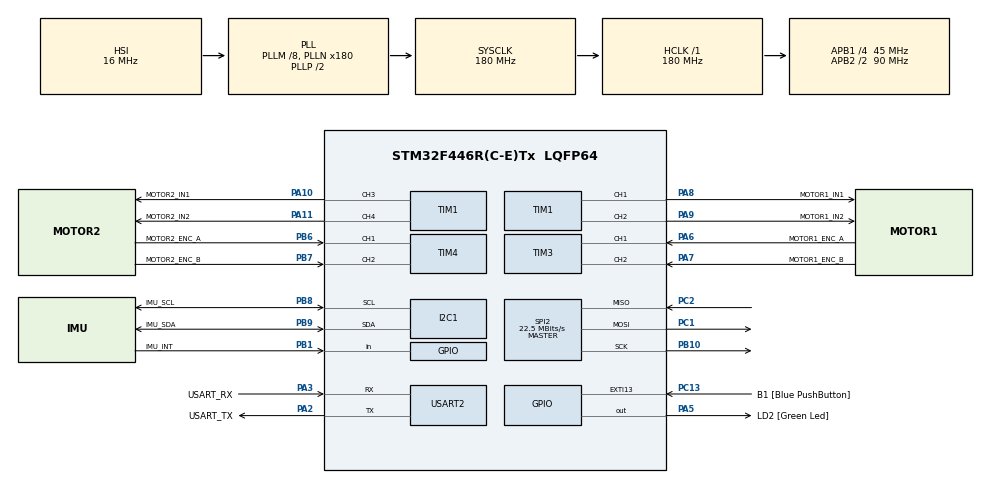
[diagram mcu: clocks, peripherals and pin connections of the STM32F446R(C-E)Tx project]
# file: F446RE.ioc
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Mcu.Family=STM32F4
Mcu.Name=STM32F446R(C-E)Tx
Mcu.Package=LQFP64
NVIC.PriorityGroup=NVIC_PRIORITYGROUP_0
NVIC.TIM2_IRQn=true\:0\:0\:false\:false\:true\:true\:true\:true
PA10.GPIO_Label=MOTOR2_IN1
PA10.Signal=S_TIM1_CH3
PA11.GPIO_Label=MOTOR2_IN2
PA11.Signal=S_TIM1_CH4
PA13.GPIO_Label=TMS
PA13.Mode=Serial_Wire
PA13.Signal=SYS_JTMS-SWDIO
PA14.GPIO_Label=TCK
PA14.Mode=Serial_Wire
PA14.Signal=SYS_JTCK-SWCLK
PA2.GPIO_Label=USART_TX
PA2.Mode=Asynchronous
PA2.Signal=USART2_TX
PA3.GPIO_Label=USART_RX
PA3.Mode=Asynchronous
PA3.Signal=USART2_RX
PA5.GPIO_Label=LD2 [Green Led]
PA5.Signal=GPIO_Output
PA6.GPIO_Label=MOTOR1_ENC_A
PA6.Signal=S_TIM3_CH1
PA7.GPIO_Label=MOTOR1_ENC_B
PA7.Signal=S_TIM3_CH2
PA8.GPIO_Label=MOTOR1_IN1
PA8.Signal=S_TIM1_CH1
PA9.GPIO_Label=MOTOR1_IN2
PA9.Signal=S_TIM1_CH2
PB1.GPIO_Label=IMU_INT
PB1.Signal=GPIO_Input
PB10.Mode=Full_Duplex_Master
PB10.Signal=SPI2_SCK
PB3.GPIO_Label=SWO
PB3.Signal=SYS_JTDO-SWO
PB6.GPIO_Label=MOTOR2_ENC_A
PB6.Signal=S_TIM4_CH1
PB7.GPIO_Label=MOTOR2_ENC_B
PB7.Signal=S_TIM4_CH2
PB8.GPIO_Label=IMU_SCL
PB8.Mode=I2C
PB8.Signal=I2C1_SCL
PB9.GPIO_Label=IMU_SDA
PB9.Mode=I2C
PB9.Signal=I2C1_SDA
PC1.Mode=Full_Duplex_Master
PC1.Signal=SPI2_MOSI
PC13.GPIO_Label=B1 [Blue PushButton]
PC13.GPIO_ModeDefaultEXTI=GPIO_MODE_IT_FALLING
PC13.Signal=GPXTI13
PC14-OSC32_IN.Signal=RCC_OSC32_IN
PC15-OSC32_OUT.Signal=RCC_OSC32_OUT
PC2.Mode=Full_Duplex_Master
PC2.Signal=SPI2_MISO
PH0-OSC_IN.Signal=RCC_OSC_IN
PH1-OSC_OUT.Signal=RCC_OSC_OUT
ProjectManager.HeapSize=0x200
ProjectManager.StackSize=0x400
ProjectManager.TargetToolchain=CMake
RCC.AHBFreq_Value=180000000
RCC.APB1CLKDivider=RCC_HCLK_DIV4
RCC.APB1Freq_Value=45000000
RCC.APB1TimFreq_Value=90000000
RCC.APB2CLKDivider=RCC_HCLK_DIV2
RCC.APB2Freq_Value=90000000
RCC.APB2TimFreq_Value=180000000
RCC.CortexFreq_Value=180000000
RCC.FLatency-AdvancedSettings=FLASH_LATENCY_5
RCC.HCLKFreq_Value=180000000
RCC.HSE_VALUE=8000000
RCC.HSI_VALUE=16000000
RCC.LSE_VALUE=32768
RCC.PLLM=8
RCC.PLLN=180
RCC.SYSCLKFreq_VALUE=180000000
RCC.SYSCLKSource=RCC_SYSCLKSOURCE_PLLCLK
RCC.USBFreq_Value=180000000
RCC.VCOOutputFreq_Value=360000000
SH.S_TIM1_CH1.0=TIM1_CH1,PWM Generation1 CH1
SH.S_TIM1_CH2.0=TIM1_CH2,PWM Generation2 CH2
SH.S_TIM1_CH3.0=TIM1_CH3,PWM Generation3 CH3
SH.S_TIM1_CH4.0=TIM1_CH4,Output Compare4 CH4
SH.S_TIM3_CH1.0=TIM3_CH1,Encoder_Interface
SH.S_TIM3_CH2.0=TIM3_CH2,Encoder_Interface
SH.S_TIM4_CH1.0=TIM4_CH1,Encoder_Interface
SH.S_TIM4_CH2.0=TIM4_CH2,Encoder_Interface
SPI2.BaudRatePrescaler=SPI_BAUDRATEPRESCALER_2
SPI2.CalculateBaudRate=22.5 MBits/s
SPI2.Direction=SPI_DIRECTION_2LINES
SPI2.Mode=SPI_MODE_MASTER
SPI2.VirtualType=VM_MASTER
TIM1.Channel-Output\ Compare4\ CH4=TIM_CHANNEL_4
TIM1.Channel-PWM\ Generation1\ CH1=TIM_CHANNEL_1
TIM1.Channel-PWM\ Generation2\ CH2=TIM_CHANNEL_2
TIM1.Channel-PWM\ Generation3\ CH3=TIM_CHANNEL_3
TIM2.ClockDivision=TIM_CLOCKDIVISION_DIV1
TIM2.Period=19999
TIM2.Prescaler=8
USART2.VirtualMode=VM_ASYNC
VP_TIM2_VS_ClockSourceINT.Mode=Internal
board=NUCLEO-F446RE

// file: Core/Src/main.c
/* USER CODE BEGIN Header */
/**
 ******************************************************************************
 * @file           : main.c
 * @brief          : Main program body
 ******************************************************************************
 * @attention
 *
 * Copyright (c) 2026 STMicroelectronics.
 * All rights reserved.
 *
 * This software is licensed under terms that can be found in the LICENSE file
 * in the root directory of this software component.
 * If no LICENSE file comes with this software, it is provided AS-IS.
 *
 ******************************************************************************
 */
/* USER CODE END Header */
#include "main.h"
#include "i2c.h"
#include "spi.h"
#include "tim.h"
#include "usart.h"
#include "gpio.h"

/* USER CODE BEGIN Includes */
#include "stdio.h"
#include "string.h"
#include "app.hpp"
/* USER CODE END Includes */

/* USER CODE BEGIN PV */
extern TIM_HandleTypeDef htim2;
extern UART_HandleTypeDef huart2;
extern float angle;
extern float output;
char buffer[256];
uint32_t lastTelemetryTick = 0;
/* USER CODE END PV */

void SystemClock_Config(void);

int main(void)
{

	/* MCU Configuration--------------------------------------------------------*/

	/* Reset of all peripherals, Initializes the Flash interface and the Systick. */
	HAL_Init();

	/* Configure the system clock */
	SystemClock_Config();

	/* Initialize all configured peripherals */
	MX_GPIO_Init();
	MX_I2C1_Init();
	MX_TIM1_Init();
	MX_TIM3_Init();
	MX_TIM4_Init();
	MX_SPI2_Init();
	MX_TIM2_Init();
	MX_USART2_UART_Init();
	/* USER CODE BEGIN 2 */
	appInit();
	HAL_TIM_Base_Start_IT(&htim2);
	/* USER CODE END 2 */

	/* Infinite loop */
	/* USER CODE BEGIN WHILE */
	while (1)
	{
		if (HAL_GetTick() - lastTelemetryTick >= 20) {
			lastTelemetryTick += 20;
			snprintf(buffer, sizeof(buffer), "%.2f,%.2f\r\n", angle, output);
			HAL_UART_Transmit(&huart2, buffer, strlen(buffer), 1000);
		}
		/* USER CODE END WHILE */

	}
}

void SystemClock_Config(void)
{
	RCC_OscInitTypeDef RCC_OscInitStruct = {0};
	RCC_ClkInitTypeDef RCC_ClkInitStruct = {0};

	/** Configure the main internal regulator output voltage
	 */
	__HAL_RCC_PWR_CLK_ENABLE();
	__HAL_PWR_VOLTAGESCALING_CONFIG(PWR_REGULATOR_VOLTAGE_SCALE1);

	/** Initializes the RCC Oscillators according to the specified parameters
	 * in the RCC_OscInitTypeDef structure.
	 */
	RCC_OscInitStruct.OscillatorType = RCC_OSCILLATORTYPE_HSI;
	RCC_OscInitStruct.HSIState = RCC_HSI_ON;
	RCC_OscInitStruct.HSICalibrationValue = RCC_HSICALIBRATION_DEFAULT;
	RCC_OscInitStruct.PLL.PLLState = RCC_PLL_ON;
	RCC_OscInitStruct.PLL.PLLSource = RCC_PLLSOURCE_HSI;
	RCC_OscInitStruct.PLL.PLLM = 8;
	RCC_OscInitStruct.PLL.PLLN = 180;
	RCC_OscInitStruct.PLL.PLLP = RCC_PLLP_DIV2;
	RCC_OscInitStruct.PLL.PLLQ = 2;
	RCC_OscInitStruct.PLL.PLLR = 2;
	if (HAL_RCC_OscConfig(&RCC_OscInitStruct) != HAL_OK)
	{
		Error_Handler();
	}

	/** Activate the Over-Drive mode
	 */
	if (HAL_PWREx_EnableOverDrive() != HAL_OK)
	{
		Error_Handler();
	}

	/** Initializes the CPU, AHB and APB buses clocks
	 */
	RCC_ClkInitStruct.ClockType = RCC_CLOCKTYPE_HCLK|RCC_CLOCKTYPE_SYSCLK
			|RCC_CLOCKTYPE_PCLK1|RCC_CLOCKTYPE_PCLK2;
	RCC_ClkInitStruct.SYSCLKSource = RCC_SYSCLKSOURCE_PLLCLK;
	RCC_ClkInitStruct.AHBCLKDivider = RCC_SYSCLK_DIV1;
	RCC_ClkInitStruct.APB1CLKDivider = RCC_HCLK_DIV4;
	RCC_ClkInitStruct.APB2CLKDivider = RCC_HCLK_DIV2;

	if (HAL_RCC_ClockConfig(&RCC_ClkInitStruct, FLASH_LATENCY_5) != HAL_OK)
	{
		Error_Handler();
	}
}

/* USER CODE BEGIN 4 */
void HAL_TIM_PeriodElapsedCallback(TIM_HandleTypeDef *htim) {
	if (htim == &htim2) {
		appRun();
	}
}
/* USER CODE END 4 */

void Error_Handler(void)
{
	__disable_irq();
	while (1)
	{
	}
}
